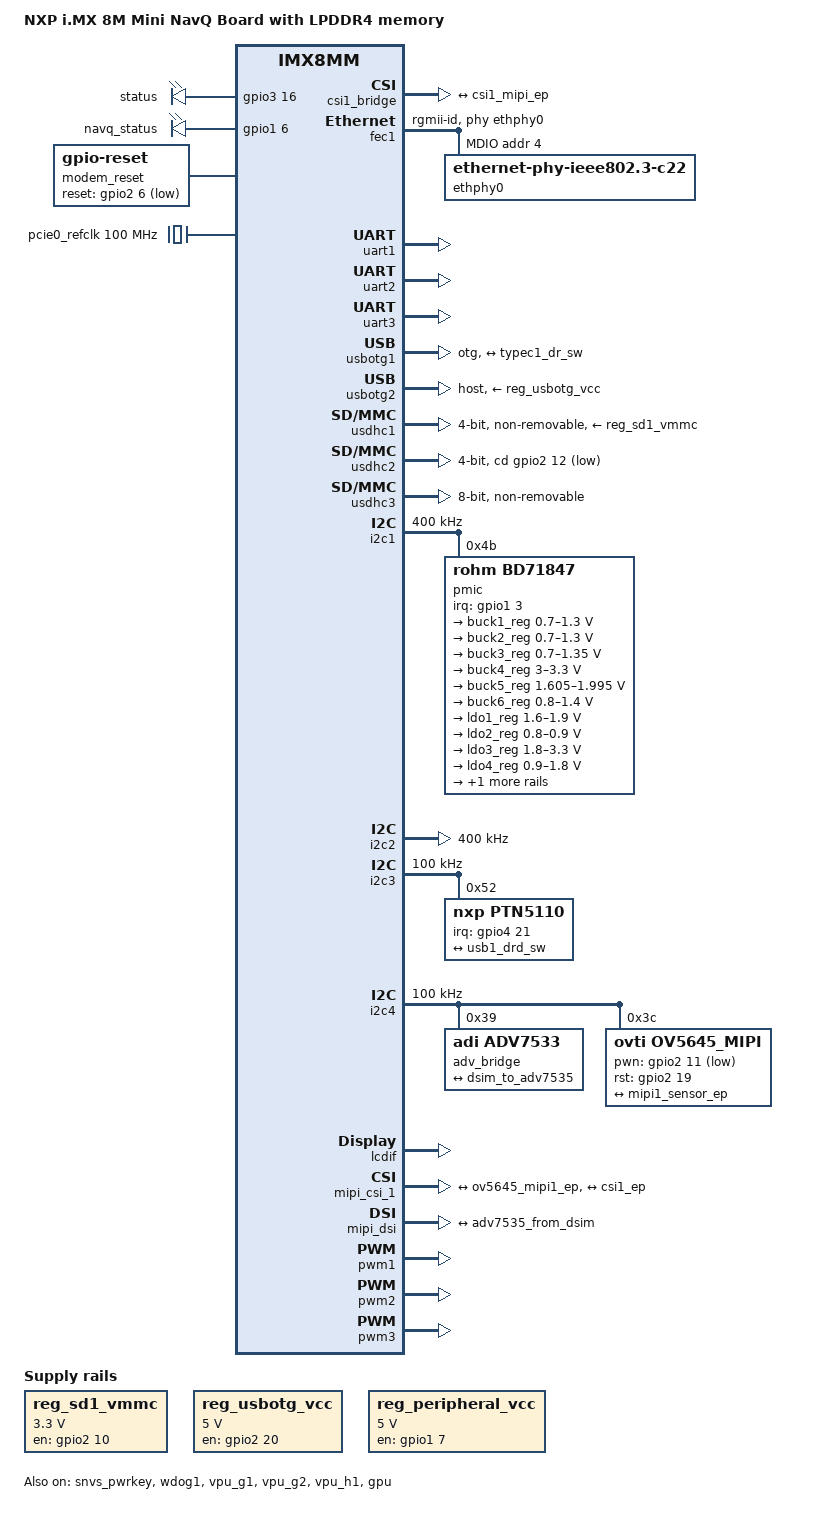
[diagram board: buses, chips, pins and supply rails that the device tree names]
// SPDX-License-Identifier: (GPL-2.0+ OR MIT)
/*
 * Copyright 2019 NXP
 */

/dts-v1/;

#include <dt-bindings/usb/pd.h>
#include "imx8mm.dtsi"

/ {
	model = "NXP i.MX 8M Mini NavQ Board with LPDDR4 memory";
	compatible = "fsl,imx8mm-navq", "fsl,imx8mm";

	reserved-memory {
		#address-cells = <2>;
		#size-cells = <2>;
		ranges;

		rpmsg_reserved: rpmsg@0xb8000000 {
			no-map;
			reg = <0 0xb8000000 0 0x400000>;
		};
	};

	chosen {
		stdout-path = &uart2;
	};

	leds {
		compatible = "gpio-leds";
		pinctrl-names = "default";
		pinctrl-0 = <&pinctrl_gpio_led>;

		status {
			label = "status";
			gpios = <&gpio3 16 GPIO_ACTIVE_HIGH>;
			default-state = "on";
		};
	};


	leds_navq {
		compatible = "gpio-leds";
		pinctrl-names = "default";
		pinctrl-0 = <&pinctrl_gpio_led_navq>;

		status {
			label = "navq_status";
			gpios = <&gpio1 6 GPIO_ACTIVE_HIGH>;
			default-state = "on";
		};
	};

	modem_reset: modem-reset {
		compatible = "gpio-reset";
		reset-gpios = <&gpio2 6 GPIO_ACTIVE_LOW>;
		reset-delay-us = <2000>;
		reset-post-delay-ms = <40>;
		#reset-cells = <0>;
	};

	pcie0_refclk: pcie0-refclk {
		compatible = "fixed-clock";
		#clock-cells = <0>;
		clock-frequency = <100000000>;
	};

	regulators {
		compatible = "simple-bus";
		#address-cells = <1>;
		#size-cells = <0>;


		reg_sd1_vmmc: sd1_regulator {
		compatible = "regulator-fixed";
			regulator-name = "WLAN_EN";
			regulator-min-microvolt = <3300000>;
			regulator-max-microvolt = <3300000>;
			gpio = <&gpio2 10 GPIO_ACTIVE_HIGH>;
			off-on-delay-us = <20000>;
			startup-delay-us = <100>;
			enable-active-high;
		};

		reg_usbotg_vcc: regulator-usbotg-vcc {
			compatible = "regulator-fixed";
			regulator-name = "USB_OTG_VCC";
			regulator-min-microvolt = <5000000>;
			regulator-max-microvolt = <5000000>;
			gpio = <&gpio2 20 GPIO_ACTIVE_HIGH>;
			off-on-delay = <20000>;
			enable-active-high;
		};

		reg_peripheral_vcc: regulator-peripheral-vcc {
			compatible = "regulator-fixed";
			regulator-name = "PERIPHERAL_VCC";
			regulator-min-microvolt = <5000000>;
			regulator-max-microvolt = <5000000>;
			gpio = <&gpio1 7 GPIO_ACTIVE_HIGH>;
			off-on-delay = <20000>;
			enable-active-high;
			regulator-boot-on;
			regulator-always-on;
		};
	};


};

&A53_0 {
	cpu-supply = <&buck2_reg>;
};

&csi1_bridge {
	fsl,mipi-mode;
	status = "okay";
	port {
		csi1_ep: endpoint {
			remote-endpoint = <&csi1_mipi_ep>;
		};
	};
};

&fec1 {
	pinctrl-names = "default";
	pinctrl-0 = <&pinctrl_fec1>;
	phy-mode = "rgmii-id";
	phy-handle = <&ethphy0>;
	fsl,magic-packet;
	status = "okay";

	mdio {
		#address-cells = <1>;
		#size-cells = <0>;

		ethphy0: ethernet-phy@4 {
			compatible = "ethernet-phy-ieee802.3-c22";
			reg = <4>;
			at803x,eee-disabled;
			at803x,vddio-1p8v;
		};
	};
};



&snvs_pwrkey {
	status = "okay";
};

&uart1 { /* BT */
	pinctrl-names = "default";
	pinctrl-0 = <&pinctrl_uart1>;
	assigned-clocks = <&clk IMX8MM_CLK_UART1>;
	assigned-clock-parents = <&clk IMX8MM_SYS_PLL1_80M>;
	fsl,uart-has-rtscts;
	resets = <&modem_reset>;
	status = "okay";
};

&uart2 { /* console */
	pinctrl-names = "default";
	pinctrl-0 = <&pinctrl_uart2>;
	status = "okay";
};

&uart3 {
	pinctrl-names = "default";
	pinctrl-0 = <&pinctrl_uart3>;
	assigned-clocks = <&clk IMX8MM_CLK_UART3>;
	assigned-clock-parents = <&clk IMX8MM_SYS_PLL1_80M>;
	fsl,uart-has-rtscts;
	status = "okay";
};

&usbotg1 {
	dr_mode = "otg";
	hnp-disable;
	srp-disable;
	adp-disable;
	usb-role-switch;
	status = "okay";

	port {
		usb1_drd_sw: endpoint {
			remote-endpoint = <&typec1_dr_sw>;
		};
	};
};

&usbotg2 {
	 dr_mode = "host"; // the OTG mode doesn't work out of the box
	 vbus-supply = <&reg_usbotg_vcc>;
	 picophy,pre-emp-curr-control = <3>;
	 picophy,dc-vol-level-adjust = <7>;
	 status = "okay";
};

&usdhc1 {
	pinctrl-names = "default", "state_100mhz", "state_200mhz";
	pinctrl-0 = <&pinctrl_usdhc1>, <&pinctrl_usdhc1_gpio>;
	pinctrl-1 = <&pinctrl_usdhc1_100mhz>, <&pinctrl_usdhc1_gpio>;
	pinctrl-2 = <&pinctrl_usdhc1_200mhz>, <&pinctrl_usdhc1_gpio>;
	bus-width = <4>;
	vmmc-supply = <&reg_sd1_vmmc>;
	pm-ignore-notify;
	keep-power-in-suspend;
	non-removable;
	status = "okay";
};

&usdhc2 {
	pinctrl-names = "default", "state_100mhz", "state_200mhz";
	pinctrl-0 = <&pinctrl_usdhc2>, <&pinctrl_usdhc2_gpio>;
	pinctrl-1 = <&pinctrl_usdhc2_100mhz>, <&pinctrl_usdhc2_gpio>;
	pinctrl-2 = <&pinctrl_usdhc2_200mhz>, <&pinctrl_usdhc2_gpio>;
	cd-gpios = <&gpio2 12 GPIO_ACTIVE_LOW>;
	bus-width = <4>;
	status = "okay";
};

&usdhc3 {
	pinctrl-names = "default", "state_100mhz", "state_200mhz";
	pinctrl-0 = <&pinctrl_usdhc3>;
	pinctrl-1 = <&pinctrl_usdhc3_100mhz>;
	pinctrl-2 = <&pinctrl_usdhc3_200mhz>;
	bus-width = <8>;
	non-removable;
	status = "okay";
};

&wdog1 {
	pinctrl-names = "default";
	pinctrl-0 = <&pinctrl_wdog>;
	fsl,ext-reset-output;
	status = "okay";
};

&i2c1 {
	clock-frequency = <400000>;
	pinctrl-names = "default";
	pinctrl-0 = <&pinctrl_i2c1>;
	status = "okay";

	pmic@4b {
		compatible = "rohm,bd71847";
		reg = <0x4b>;
		pinctrl-0 = <&pinctrl_pmic>;
		interrupt-parent = <&gpio1>;
		interrupts = <3 GPIO_ACTIVE_LOW>;
		rohm,reset-snvs-powered;

		regulators {
			buck1_reg: BUCK1 {
				regulator-name = "BUCK1";
				regulator-min-microvolt = <700000>;
				regulator-max-microvolt = <1300000>;
				regulator-boot-on;
				regulator-always-on;
				regulator-ramp-delay = <1250>;
			};

			buck2_reg: BUCK2 {
				regulator-name = "BUCK2";
				regulator-min-microvolt = <700000>;
				regulator-max-microvolt = <1300000>;
				regulator-boot-on;
				regulator-always-on;
				regulator-ramp-delay = <1250>;
				rohm,dvs-run-voltage = <1000000>;
				rohm,dvs-idle-voltage = <900000>;
			};

			buck3_reg: BUCK3 {
				// BUCK5 in datasheet
				regulator-name = "BUCK3";
				regulator-min-microvolt = <700000>;
				regulator-max-microvolt = <1350000>;
				regulator-boot-on;
				regulator-always-on;
			};

			buck4_reg: BUCK4 {
				// BUCK6 in datasheet
				regulator-name = "BUCK4";
				regulator-min-microvolt = <3000000>;
				regulator-max-microvolt = <3300000>;
				regulator-boot-on;
				regulator-always-on;
			};

			buck5_reg: BUCK5 {
				// BUCK7 in datasheet
				regulator-name = "BUCK5";
				regulator-min-microvolt = <1605000>;
				regulator-max-microvolt = <1995000>;
				regulator-boot-on;
				regulator-always-on;
			};

			buck6_reg: BUCK6 {
				// BUCK8 in datasheet
				regulator-name = "BUCK6";
				regulator-min-microvolt = <800000>;
				regulator-max-microvolt = <1400000>;
				regulator-boot-on;
				regulator-always-on;
			};

			ldo1_reg: LDO1 {
				regulator-name = "LDO1";
				regulator-min-microvolt = <1600000>;
				regulator-max-microvolt = <1900000>;
				regulator-boot-on;
				regulator-always-on;
			};

			ldo2_reg: LDO2 {
				regulator-name = "LDO2";
				regulator-min-microvolt = <800000>;
				regulator-max-microvolt = <900000>;
				regulator-boot-on;
				regulator-always-on;
			};

			ldo3_reg: LDO3 {
				regulator-name = "LDO3";
				regulator-min-microvolt = <1800000>;
				regulator-max-microvolt = <3300000>;
				regulator-boot-on;
				regulator-always-on;
			};

			ldo4_reg: LDO4 {
				regulator-name = "LDO4";
				regulator-min-microvolt = <900000>;
				regulator-max-microvolt = <1800000>;
				regulator-boot-on;
				regulator-always-on;
			};

			ldo6_reg: LDO6 {
				regulator-name = "LDO6";
				regulator-min-microvolt = <900000>;
				regulator-max-microvolt = <1800000>;
				regulator-boot-on;
				regulator-always-on;
			};
		};
	};
};

&i2c2 {
	clock-frequency = <400000>;
	pinctrl-names = "default";
	pinctrl-0 = <&pinctrl_i2c2>;
	status = "okay";

};

&i2c3 {
	clock-frequency = <100000>;
	pinctrl-names = "default";
	pinctrl-0 = <&pinctrl_i2c3>;
	status = "okay";

	ptn5110: tcpc@52 {
		compatible = "nxp,ptn5110";
		pinctrl-names = "default";
		pinctrl-0 = <&pinctrl_typec1>;
		reg = <0x52>;
		interrupt-parent = <&gpio4>;
		interrupts = <21 8>;
		status = "okay";

		port {
			typec1_dr_sw: endpoint {
				remote-endpoint = <&usb1_drd_sw>;
			};
		};

		typec1_con: connector {
			compatible = "usb-c-connector";
			label = "USB-C";
			power-role = "dual";
			data-role = "dual";
			try-power-role = "sink";
			source-pdos = <PDO_FIXED(5000, 3000, PDO_FIXED_USB_COMM)>;
			sink-pdos = <PDO_FIXED(5000, 3000, PDO_FIXED_USB_COMM)
				     PDO_VAR(5000, 20000, 3000)>;
			op-sink-microwatt = <15000000>;
			self-powered;
		};
	};

};

&i2c4 {
	clock-frequency = <100000>;
	pinctrl-names = "default";
	pinctrl-0 = <&pinctrl_i2c4>;
	status = "okay";

	adv_bridge: adv7535@39 {
		compatible = "adi,adv7533";
		reg = <0x39>;
		adi,addr-cec = <0xc>;
		adi,dsi-lanes = <4>;
#if 0
		pinctrl-names = "default";
		pinctrl-0 = <&pinctrl_i2c2_synaptics_dsx_io>;
		interrupt-parent = <&gpio1>;
		interrupts = <9 IRQ_TYPE_LEVEL_LOW>;
#endif
		status = "okay";

		port {
			adv7535_from_dsim: endpoint {
				remote-endpoint = <&dsim_to_adv7535>;
			};
		};
	};

	ov5645_mipi: ov5645_mipi@3c {
			compatible = "ovti,ov5645_mipi";
			reg = <0x3c>;
			status = "okay";
			pinctrl-names = "default";
			pinctrl-0 = <&pinctrl_csi1>;
			clocks = <&clk IMX8MM_CLK_CLKO1>;
			clock-names = "csi_mclk";
			assigned-clocks = <&clk IMX8MM_CLK_CLKO1>;
			assigned-clock-parents = <&clk IMX8MM_CLK_24M>;
			assigned-clock-rates = <24000000>;
			csi_id = <0>;
			pwn-gpios = <&gpio2 11 1>;
			rst-gpios = <&gpio2 19 0>;
			mclk = <24000000>;
			mclk_source = <0>;
			ae_target = <52>;

			port {
				ov5645_mipi1_ep: endpoint {
					remote-endpoint = <&mipi1_sensor_ep>;
				};
			};
	};
};

&iomuxc {
	pinctrl-names = "default";

	pinctrl_csi_rst: csi_rst_grp {
		fsl,pins = <
			MX8MM_IOMUXC_GPIO1_IO06_GPIO1_IO6		0x19
			MX8MM_IOMUXC_GPIO1_IO14_CCMSRCGPCMIX_CLKO1	0x59
		>;
	};

	pinctrl_csi1: csi1grp {
		fsl,pins = <
			MX8MM_IOMUXC_SD1_STROBE_GPIO2_IO11		0x19 /* PWDN */
			MX8MM_IOMUXC_SD2_RESET_B_GPIO2_IO19		0x19 /* RESETB */
		>;
	};

	pinctrl_fec1: fec1grp {
		fsl,pins = <
			MX8MM_IOMUXC_ENET_MDC_ENET1_MDC			0x3
			MX8MM_IOMUXC_ENET_MDIO_ENET1_MDIO		0x3
			MX8MM_IOMUXC_ENET_TD3_ENET1_RGMII_TD3		0x1f
			MX8MM_IOMUXC_ENET_TD2_ENET1_RGMII_TD2		0x1f
			MX8MM_IOMUXC_ENET_TD1_ENET1_RGMII_TD1		0x1f
			MX8MM_IOMUXC_ENET_TD0_ENET1_RGMII_TD0		0x1f
			MX8MM_IOMUXC_ENET_RD3_ENET1_RGMII_RD3		0x91
			MX8MM_IOMUXC_ENET_RD2_ENET1_RGMII_RD2		0x91
			MX8MM_IOMUXC_ENET_RD1_ENET1_RGMII_RD1		0x91
			MX8MM_IOMUXC_ENET_RD0_ENET1_RGMII_RD0		0x91
			MX8MM_IOMUXC_ENET_TXC_ENET1_RGMII_TXC		0x1f
			MX8MM_IOMUXC_ENET_RXC_ENET1_RGMII_RXC		0x91
			MX8MM_IOMUXC_ENET_RX_CTL_ENET1_RGMII_RX_CTL	0x91
			MX8MM_IOMUXC_ENET_TX_CTL_ENET1_RGMII_TX_CTL	0x1f
			MX8MM_IOMUXC_SAI2_RXC_GPIO4_IO22		0x19
		>;
	};

	pinctrl_gpio_led: gpioledgrp {
		fsl,pins = <
			MX8MM_IOMUXC_NAND_READY_B_GPIO3_IO16	0x19
		>;
	};

	pinctrl_gpio_led_navq: gpioledgrp2 {
		fsl,pins = <
			MX8MM_IOMUXC_GPIO1_IO06_GPIO1_IO6   0x19
		>;
	};


	pinctrl_pwm1: pwm1 {
		fsl,pins = <
			MX8MM_IOMUXC_SPDIF_EXT_CLK_PWM1_OUT 0xc6
		>;
	};

	pinctrl_pwm2: pwm2 {
		fsl,pins = <
			MX8MM_IOMUXC_SPDIF_RX_PWM2_OUT 0xc6
		>;
	};

	pinctrl_pwm3: pwm3 {
		fsl,pins = <
			MX8MM_IOMUXC_SPDIF_TX_PWM3_OUT 0xc6
		>;
	};

	pinctrl_i2c1: i2c1grp {
		fsl,pins = <
			MX8MM_IOMUXC_I2C1_SCL_I2C1_SCL			0x400001c3
			MX8MM_IOMUXC_I2C1_SDA_I2C1_SDA			0x400001c3
		>;
	};

	pinctrl_i2c2: i2c2grp {
		fsl,pins = <
			MX8MM_IOMUXC_I2C2_SCL_I2C2_SCL			0x400001c3
			MX8MM_IOMUXC_I2C2_SDA_I2C2_SDA			0x400001c3
		>;
	};

	pinctrl_i2c3: i2c3grp {
		fsl,pins = <
			MX8MM_IOMUXC_I2C3_SCL_I2C3_SCL			0x400001c3
			MX8MM_IOMUXC_I2C3_SDA_I2C3_SDA			0x400001c3
		>;
	};

	pinctrl_i2c4: i2c4grp {
		fsl,pins = <
			MX8MM_IOMUXC_I2C4_SCL_I2C4_SCL			0x400001c3
			MX8MM_IOMUXC_I2C4_SDA_I2C4_SDA			0x400001c3
		>;
	};

	pinctrl_mipi_dsi_en: mipi_dsi_en {
		fsl,pins = <
			MX8MM_IOMUXC_GPIO1_IO08_GPIO1_IO8		0x16
		>;
	};

	pinctrl_i2c2_synaptics_dsx_io: synaptics_dsx_iogrp {
		fsl,pins = <
			MX8MM_IOMUXC_GPIO1_IO09_GPIO1_IO9               0x19    /* Touch int */
		>;
	};

	pinctrl_pmic: pmicirq {
		fsl,pins = <
			MX8MM_IOMUXC_GPIO1_IO03_GPIO1_IO3		0x41
		>;
	};

	pinctrl_typec1: typec1grp {
		fsl,pins = <
			MX8MM_IOMUXC_SAI2_RXFS_GPIO4_IO21	0x159
		>;
	};


	pinctrl_otg_en: otggrp {
		fsl,pins = <
			MX8MM_IOMUXC_SD2_WP_GPIO2_IO20		0x19
		>;
	};

	pinctrl_5vpp_en: pwr5vppgrp {
		fsl,pins = <
			MX8MM_IOMUXC_GPIO1_IO07_GPIO1_IO7        0x19
		>;
	};


	pinctrl_uart1: uart1grp {
		fsl,pins = <
			MX8MM_IOMUXC_UART1_RXD_UART1_DCE_RX	0x140
			MX8MM_IOMUXC_UART1_TXD_UART1_DCE_TX	0x140
			MX8MM_IOMUXC_UART3_RXD_UART1_DCE_CTS_B	0x140
			MX8MM_IOMUXC_UART3_TXD_UART1_DCE_RTS_B	0x140
			MX8MM_IOMUXC_SD1_DATA4_GPIO2_IO6	0x19
		>;
	};

	pinctrl_uart2: uart2grp {
		fsl,pins = <
			MX8MM_IOMUXC_UART2_RXD_UART2_DCE_RX	0x140
			MX8MM_IOMUXC_UART2_TXD_UART2_DCE_TX	0x140
		>;
	};

	pinctrl_uart3: uart3grp {
		fsl,pins = <
			MX8MM_IOMUXC_ECSPI1_SCLK_UART3_DCE_RX		0x140
			MX8MM_IOMUXC_ECSPI1_MOSI_UART3_DCE_TX		0x140
			MX8MM_IOMUXC_ECSPI1_SS0_UART3_DCE_RTS_B		0x140
			MX8MM_IOMUXC_ECSPI1_MISO_UART3_DCE_CTS_B	0x140
		>;
	};

	pinctrl_usdhc1_gpio: usdhc1grpgpio {
		fsl,pins = <
			MX8MM_IOMUXC_SD1_RESET_B_GPIO2_IO10	0x41
		>;
	};

	pinctrl_usdhc1: usdhc1grp {
		fsl,pins = <
			MX8MM_IOMUXC_SD1_CLK_USDHC1_CLK		0x190
			MX8MM_IOMUXC_SD1_CMD_USDHC1_CMD		0x1d0
			MX8MM_IOMUXC_SD1_DATA0_USDHC1_DATA0	0x1d0
			MX8MM_IOMUXC_SD1_DATA1_USDHC1_DATA1	0x1d0
			MX8MM_IOMUXC_SD1_DATA2_USDHC1_DATA2	0x1d0
			MX8MM_IOMUXC_SD1_DATA3_USDHC1_DATA3	0x1d0
		>;
	};

	pinctrl_usdhc1_100mhz: usdhc1grp100mhz {
		fsl,pins = <
			MX8MM_IOMUXC_SD1_CLK_USDHC1_CLK		0x194
			MX8MM_IOMUXC_SD1_CMD_USDHC1_CMD		0x1d4
			MX8MM_IOMUXC_SD1_DATA0_USDHC1_DATA0	0x1d4
			MX8MM_IOMUXC_SD1_DATA1_USDHC1_DATA1	0x1d4
			MX8MM_IOMUXC_SD1_DATA2_USDHC1_DATA2	0x1d4
			MX8MM_IOMUXC_SD1_DATA3_USDHC1_DATA3	0x1d4
		>;
	};

	pinctrl_usdhc1_200mhz: usdhc1grp200mhz {
		fsl,pins = <
			MX8MM_IOMUXC_SD1_CLK_USDHC1_CLK		0x196
			MX8MM_IOMUXC_SD1_CMD_USDHC1_CMD		0x1d6
			MX8MM_IOMUXC_SD1_DATA0_USDHC1_DATA0	0x1d6
			MX8MM_IOMUXC_SD1_DATA1_USDHC1_DATA1	0x1d6
			MX8MM_IOMUXC_SD1_DATA2_USDHC1_DATA2	0x1d6
			MX8MM_IOMUXC_SD1_DATA3_USDHC1_DATA3	0x1d6
		>;
	};

	pinctrl_usdhc2_gpio: usdhc2grpgpio {
		fsl,pins = <
			MX8MM_IOMUXC_SD2_CD_B_GPIO2_IO12	0x1c0
		>;
	};

	pinctrl_usdhc2: usdhc2grp {
		fsl,pins = <
			MX8MM_IOMUXC_SD2_CLK_USDHC2_CLK		0x190
			MX8MM_IOMUXC_SD2_CMD_USDHC2_CMD		0x1d0
			MX8MM_IOMUXC_SD2_DATA0_USDHC2_DATA0	0x1d0
			MX8MM_IOMUXC_SD2_DATA1_USDHC2_DATA1	0x1d0
			MX8MM_IOMUXC_SD2_DATA2_USDHC2_DATA2	0x1d0
			MX8MM_IOMUXC_SD2_DATA3_USDHC2_DATA3	0x1d0
			MX8MM_IOMUXC_GPIO1_IO04_USDHC2_VSELECT	0x1d0
		>;
	};

	pinctrl_usdhc2_100mhz: usdhc2grp100mhz {
		fsl,pins = <
			MX8MM_IOMUXC_SD2_CLK_USDHC2_CLK		0x194
			MX8MM_IOMUXC_SD2_CMD_USDHC2_CMD		0x1d4
			MX8MM_IOMUXC_SD2_DATA0_USDHC2_DATA0	0x1d4
			MX8MM_IOMUXC_SD2_DATA1_USDHC2_DATA1	0x1d4
			MX8MM_IOMUXC_SD2_DATA2_USDHC2_DATA2	0x1d4
			MX8MM_IOMUXC_SD2_DATA3_USDHC2_DATA3	0x1d4
			MX8MM_IOMUXC_GPIO1_IO04_USDHC2_VSELECT	0x1d0
		>;
	};

	pinctrl_usdhc2_200mhz: usdhc2grp200mhz {
		fsl,pins = <
			MX8MM_IOMUXC_SD2_CLK_USDHC2_CLK		0x196
			MX8MM_IOMUXC_SD2_CMD_USDHC2_CMD		0x1d6
			MX8MM_IOMUXC_SD2_DATA0_USDHC2_DATA0	0x1d6
			MX8MM_IOMUXC_SD2_DATA1_USDHC2_DATA1	0x1d6
			MX8MM_IOMUXC_SD2_DATA2_USDHC2_DATA2	0x1d6
			MX8MM_IOMUXC_SD2_DATA3_USDHC2_DATA3	0x1d6
			MX8MM_IOMUXC_GPIO1_IO04_USDHC2_VSELECT	0x1d0
		>;
	};

	pinctrl_usdhc3: usdhc3grp {
		fsl,pins = <
			MX8MM_IOMUXC_NAND_WE_B_USDHC3_CLK		0x190
			MX8MM_IOMUXC_NAND_WP_B_USDHC3_CMD		0x1d0
			MX8MM_IOMUXC_NAND_DATA04_USDHC3_DATA0		0x1d0
			MX8MM_IOMUXC_NAND_DATA05_USDHC3_DATA1		0x1d0
			MX8MM_IOMUXC_NAND_DATA06_USDHC3_DATA2		0x1d0
			MX8MM_IOMUXC_NAND_DATA07_USDHC3_DATA3		0x1d0
			MX8MM_IOMUXC_NAND_RE_B_USDHC3_DATA4		0x1d0
			MX8MM_IOMUXC_NAND_CE2_B_USDHC3_DATA5		0x1d0
			MX8MM_IOMUXC_NAND_CE3_B_USDHC3_DATA6		0x1d0
			MX8MM_IOMUXC_NAND_CLE_USDHC3_DATA7		0x1d0
			MX8MM_IOMUXC_NAND_CE1_B_USDHC3_STROBE 		0x190
		>;
	};

	pinctrl_usdhc3_100mhz: usdhc3grp100mhz {
		fsl,pins = <
			MX8MM_IOMUXC_NAND_WE_B_USDHC3_CLK		0x194
			MX8MM_IOMUXC_NAND_WP_B_USDHC3_CMD		0x1d4
			MX8MM_IOMUXC_NAND_DATA04_USDHC3_DATA0		0x1d4
			MX8MM_IOMUXC_NAND_DATA05_USDHC3_DATA1		0x1d4
			MX8MM_IOMUXC_NAND_DATA06_USDHC3_DATA2		0x1d4
			MX8MM_IOMUXC_NAND_DATA07_USDHC3_DATA3		0x1d4
			MX8MM_IOMUXC_NAND_RE_B_USDHC3_DATA4		0x1d4
			MX8MM_IOMUXC_NAND_CE2_B_USDHC3_DATA5		0x1d4
			MX8MM_IOMUXC_NAND_CE3_B_USDHC3_DATA6		0x1d4
			MX8MM_IOMUXC_NAND_CLE_USDHC3_DATA7		0x1d4
			MX8MM_IOMUXC_NAND_CE1_B_USDHC3_STROBE 		0x194
		>;
	};

	pinctrl_usdhc3_200mhz: usdhc3grp200mhz {
		fsl,pins = <
			MX8MM_IOMUXC_NAND_WE_B_USDHC3_CLK		0x196
			MX8MM_IOMUXC_NAND_WP_B_USDHC3_CMD		0x1d6
			MX8MM_IOMUXC_NAND_DATA04_USDHC3_DATA0		0x1d6
			MX8MM_IOMUXC_NAND_DATA05_USDHC3_DATA1		0x1d6
			MX8MM_IOMUXC_NAND_DATA06_USDHC3_DATA2		0x1d6
			MX8MM_IOMUXC_NAND_DATA07_USDHC3_DATA3		0x1d6
			MX8MM_IOMUXC_NAND_RE_B_USDHC3_DATA4		0x1d6
			MX8MM_IOMUXC_NAND_CE2_B_USDHC3_DATA5		0x1d6
			MX8MM_IOMUXC_NAND_CE3_B_USDHC3_DATA6		0x1d6
			MX8MM_IOMUXC_NAND_CLE_USDHC3_DATA7		0x1d6
			MX8MM_IOMUXC_NAND_CE1_B_USDHC3_STROBE 		0x196
		>;
	};

	pinctrl_wdog: wdoggrp {
		fsl,pins = <
			MX8MM_IOMUXC_GPIO1_IO02_WDOG1_WDOG_B	0xc6
		>;
	};
};

&lcdif {
	status = "okay";
};

&mipi_csi_1 {
	#address-cells = <1>;
	#size-cells = <0>;
	status = "okay";
	port {
		mipi1_sensor_ep: endpoint@1 {
			remote-endpoint = <&ov5645_mipi1_ep>;
			data-lanes = <2>;
			csis-hs-settle = <13>;
			csis-clk-settle = <2>;
			csis-wclk;
		};

		csi1_mipi_ep: endpoint@2 {
			remote-endpoint = <&csi1_ep>;
		};
	};
};

&mipi_dsi {
	status = "okay";

	port@1 {
		dsim_to_adv7535: endpoint {
			remote-endpoint = <&adv7535_from_dsim>;
			attach-bridge;
		};
	};
};

&vpu_g1 {
	status = "okay";
};

&vpu_g2 {
	status = "okay";
};

&vpu_h1 {
	status = "okay";
};

&gpu {
	status = "okay";
};


&pwm1 {
	pinctrl-names = "default";
	pinctrl-0 = <&pinctrl_pwm1>;
	status = "okay";
};

&pwm2 {
	pinctrl-names = "default";
	pinctrl-0 = <&pinctrl_pwm2>;
	status = "okay";
};

&pwm3 {
	pinctrl-names = "default";
	pinctrl-0 = <&pinctrl_pwm3>;
	status = "okay";
};
